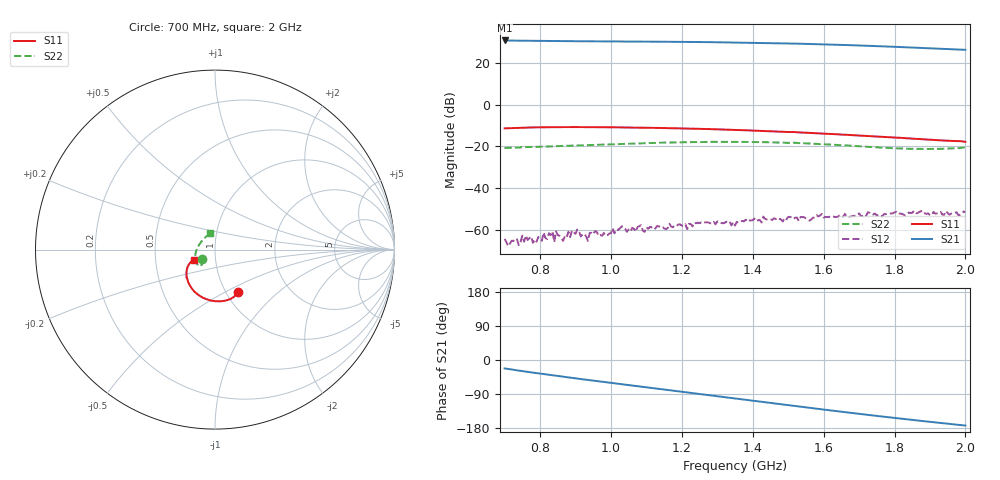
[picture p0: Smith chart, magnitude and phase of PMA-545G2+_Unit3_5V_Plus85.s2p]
!Mini-Circuits Laboratory
!S-Parameters
!Model: PMA-545G2+
!Run / Lot / Date Code: N/A / N/A / NA
!Fixture: NA; TEST BOARD: TB-607+
!AUTO PORT EXTENSION DONE: PORT<1>=120.99ps; PORT<2>=143.047ps
!Network Analyzer: PNA-X N5242A - 423 4 ports;  Serial number: 71256
!Date: 1/11/2011
!S/N: Unit# 3
# Hz  S  dB  R  50
!Frequency  S11 dB  S11 Deg  S21 dB  S21 Deg  S12 dB  S12 Deg  S22 dB  S22 Deg
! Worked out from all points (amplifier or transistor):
!   261 points, 700 MHz to 2 GHz, reference 50 ohm
!   highest |S21| = 30.8 dB at 700 MHz (marker M1)
!   |S21| within 3 dB of that: start of sweep to 1.794 GHz
!   unconditionally stable (mu >= 1): start of sweep to end of sweep
!   at 915 MHz: K = 19.85, MAG = 30.9 dB, |S12| = -63.3 dB
!   at 1.35 GHz: K = 11.80, MAG = 30.2 dB, |S12| = -58.0 dB
!   at 2 GHz: K = 8.99, MAG = 26.4 dB, |S12| = -51.6 dB
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7e8  -11.37 -61.3  30.82 -22.2  -64.38 134.9  -20.83 -142.9
7.55e8  -11.03 -66.6  30.68 -30.0  -65.72 142.5  -20.40 -139.7
8.1e8  -10.82 -72.0  30.58 -37.2  -61.37 139.6  -20.05 -136.6
8.35e8  -10.79 -74.4  30.54 -40.4  -60.82 134.2  -19.95 -135.8
8.4e8  -10.78 -75.0  30.53 -41.0  -65.92 118.7  -19.91 -135.4
8.45e8  -10.79 -75.5  30.52 -41.6  -60.73 137.3  -19.90 -135.3
8.65e8  -10.76 -77.5  30.50 -44.1  -65.36 114.7  -19.78 -134.7
9.2e8  -10.76 -82.8  30.43 -50.8  -62.10 143.6  -19.46 -132.9
1.035e9  -10.89 -94.1  30.32 -64.5  -58.45 147.2  -18.77 -131.2
1.135e9  -11.14 -103.6  30.22 -76.2  -58.36 130.8  -18.28 -131.6
1.19e9  -11.36 -108.7  30.15 -82.6  -57.46 136.0  -18.06 -133.3
1.245e9  -11.57 -113.6  30.07 -89.1  -56.58 120.7  -17.94 -135.4
1.29e9  -11.78 -117.7  29.99 -94.4  -56.24 125.7  -17.82 -137.7
1.35e9  -12.12 -122.9  29.85 -101.5  -57.99 119.6  -17.84 -141.5
1.445e9  -12.70 -130.6  29.58 -112.7  -54.82 125.0  -18.02 -148.7
1.515e9  -13.09 -135.8  29.34 -120.9  -54.86 115.3  -18.26 -154.9
1.57e9  -13.61 -139.8  29.09 -127.3  -54.22 111.4  -18.68 -161.6
1.675e9  -14.55 -146.0  28.56 -139.3  -53.75 101.9  -19.66 -177.6
1.725e9  -15.01 -148.5  28.26 -144.8  -51.58 104.2  -20.21 173.8
1.785e9  -15.62 -150.5  27.88 -151.3  -52.31 99.4  -20.79 161.0
1.88e9  -16.59 -153.1  27.23 -161.2  -52.34 100.0  -21.23 137.7
2e9  -17.80 -153.9  26.32 -173.0  -51.63 94.8  -20.49 106.1
